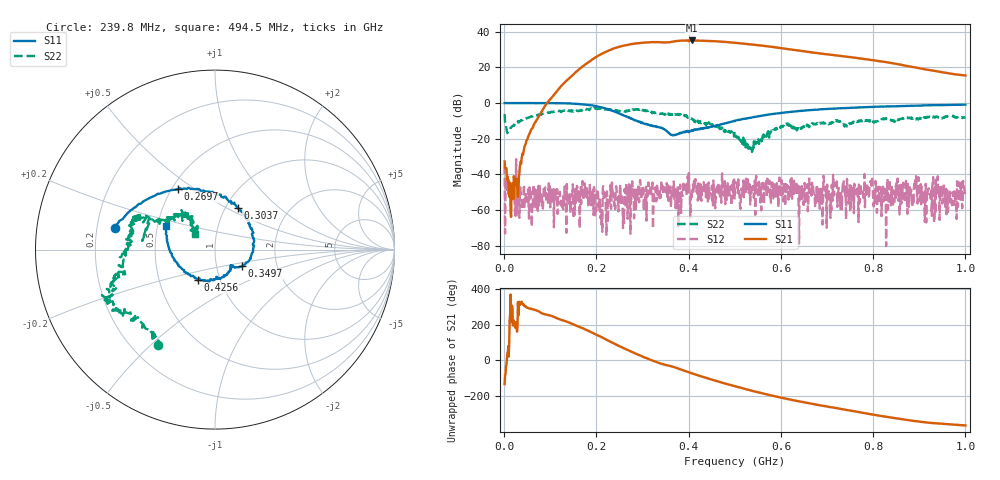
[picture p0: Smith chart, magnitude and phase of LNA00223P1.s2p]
! Created with skrf 1.9.0 (http://scikit-rf.org).
# Hz S RI R 50.0
!freq ReS11 ImS11 ReS21 ImS21 ReS12 ImS12 ReS22 ImS22
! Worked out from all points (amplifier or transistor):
!   1001 points, 1 MHz to 1 GHz, reference 50 ohm
!   highest |S21| = 35.0 dB at 406.6 MHz (marker M1)
!   |S21| within 3 dB of that: 257.6 MHz to 561.3 MHz (303.7 MHz wide, 74.2 % of centre)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
!   unconditionally stable (mu >= 1): start of sweep to 89.87 MHz; 230.9 MHz to 294.4 MHz; 295.2 MHz to end of sweep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
!   at 166.8 MHz: K = 3.46, MAG = 29.8 dB, |S12| = -56.5 dB
!   at 500.5 MHz: K = 2.04, MAG = 34.3 dB, |S12| = -46.4 dB
!   at 1 GHz: K = 5.94, MAG = 23.4 dB, |S12| = -52.7 dB
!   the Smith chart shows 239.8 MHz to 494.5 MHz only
!   S11 on the Smith chart (normalised r, x): 239.8 MHz: 0.27, +0.10; 269.7 MHz: 0.54, +0.43; 303.7 MHz: 1.14, +0.57; 349.7 MHz: 1.33, -0.25; 425.6 MHz: 0.78, -0.28; 494.5 MHz: 0.55, +0.16
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1000000  0.9894 0.00945  -0.0153 -0.0171  -0.0177 -0.000573  0.3719 0.3198
1.08892e8  0.5083 -0.8508  -0.8159 -1.546  0.00166 0.00171  0.4226 -0.3781
1.67833e8  -0.2537 -0.8872  -10.04 -0.469  -0.00413 -0.00175  0.0363 -0.6335
2.08792e8  -0.672 -0.3743  -15.59 16.68  0.000336 0.000497  -0.2054 -0.6636
2.39761e8  -0.5595 0.1212  -1.731 34.32  -0.00256 0.000129  -0.3178 -0.5295
2.69731e8  -0.2073 0.336  23.98 35.62  -0.0017 0.000177  -0.5041 -0.3484
3.03697e8  0.1258 0.232  46.71 14.95  -0.00104 -0.00111  -0.5683 -0.2183
3.34666e8  0.2129 -0.00698  49.35 -11.11  -0.000897 0.00209  -0.5299 -0.0425
3.49651e8  0.15 -0.0923  45.27 -20.63  -0.00251 0.0034  -0.4768 0.0311
3.75625e8  0.0864 -0.0999  39.75 -37.54  0.00114 -9.97e-05  -0.4529 0.1674
4.06594e8  -0.00731 -0.1647  18.39 -53.34  0.00207 0.000358  -0.3354 0.1532
4.25575e8  -0.0967 -0.1711  2.786 -55.5  -2.6e-05 0.00528  -0.2025 0.1912
4.55545e8  -0.211 -0.0731  -19.18 -50.01  0.00287 -0.00273  -0.1261 0.1858
4.94506e8  -0.2734 0.1308  -37.78 -31.99  0.00389 -0.00036  -0.1135 0.089
5.005e8  -0.268 0.16  -39.47 -28.82  -0.00287 -0.00385  -0.1157 0.1033
5.4046e8  -0.1763 0.3602  -42.34 -6.744  0.00246 -0.0012  -0.0541 -0.000263
5.85415e8  0.0251 0.4975  -34.67 11.81  0.000467 -0.00207  -0.1686 -0.0571
6.25375e8  0.2194 0.5287  -23.4 20.24  0.00501 -0.00262  -0.1893 -0.1028
6.67333e8  0.4198 0.4807  -12.19 22.91  -0.00136 -0.00572  -0.2651 -0.0283
7.55245e8  0.6911 0.2558  3.777 18.43  -3.95e-05 -0.00342  -0.2756 0.0559
8.34166e8  0.8006 -0.00158  9.807 9.327  -0.00414 -0.00256  -0.3488 0.0473
1e9  0.7157 -0.5426  5.9 -0.251  0.00222 0.000638  -0.253 0.2976
